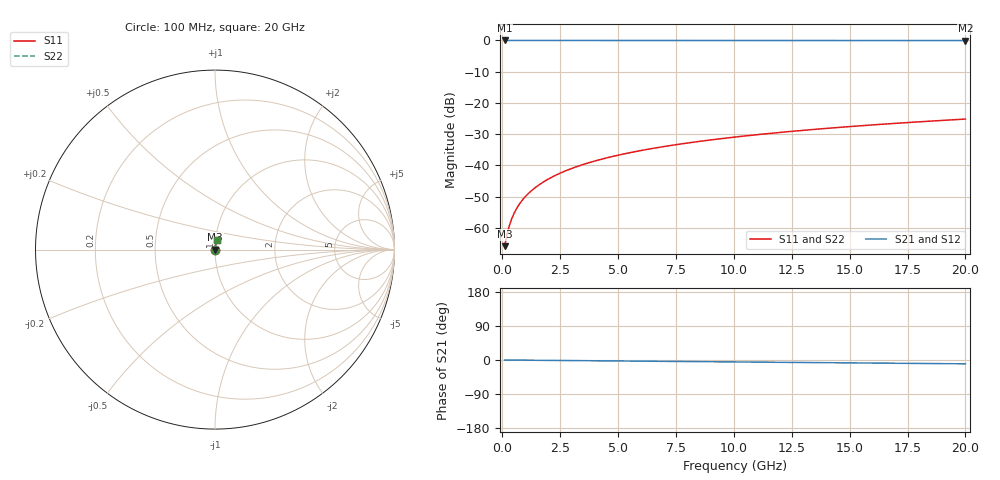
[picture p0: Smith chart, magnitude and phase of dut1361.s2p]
! Touchstone file exported from HFSS 2026.1.0
!  File:  C:/ffzhzh/LocalFiles/Ansys_Project_Files/temp_train_TSV_1361_1783196065_18472.aedt
!  Generated:  04:16:31 AM Jul  5, 2026
!  Design:  TSV
!  Project:  temp_train_TSV_1361_1783196065_18472
! Variables:
!  h_bsmrdl = 2um
!  h_ox = 20um
!  h_rdl = 5um
!  h_sub = 99.56um
!  h_tmrdl = 5um
!  h_tsv = 99.56um
!  h_via = 3um
!  l_bsmrdl = 300um
!  l_sub = 411.36um
!  l_tmrdl = 200um
!  m_sub = 200um
!  pitch = 36.45um
!  r_tsv = 5.68um
!  s_tmrdl = 10um
!  w_bsmrdl = 18um
!  w_sub = 500um
!  w_tmrdl = 12um
!  x_tsv_center1 = 206um
!  x_tsv_center2 = 524um
!  x_tsv_center3 = 736um
!  x_tsv_center4 = 1054um
!  x_tsv_center5 = 1266um
!  x_tsv_center6 = 1584um
# GHz S MA R 50.000000
! Terminal data exported
! Port[1] = TSV1_1_T1
! Port[2] = TSV1_1_T2
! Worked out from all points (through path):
!   200 points, 100 MHz to 20 GHz, reference 50 ohm
!   highest |S21| = 0.00 dB at 100 MHz (marker M1); lowest = 0.0 dB at 20 GHz (marker M2)
!   group delay of S21, straight-line fit = 1.4 ps
!   lowest |S11| = -65.9 dB at 100 MHz (marker M3), VSWR 1.00, Z = 50 + j0.033 ohm
!   |S11| at or under -10 dB: start of sweep to end of sweep
!   |S22| runs from -65.9 to -25.2 dB; largest |S21 - S12| = 4e-15
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0.1  0.000508 40.4  0.9996 -0.1  0.9996 -0.1  0.000508 40.4
! Gamma 0 0 0 0
! Port Impedance 50 0 50 0
0.2  0.0007683 58.7  0.9996 -0.1  0.9996 -0.1  0.0007683 58.7
0.3  0.001065 66.9  0.9996 -0.2  0.9996 -0.2  0.001065 66.9
0.4  0.001371 71.2  0.9996 -0.2  0.9996 -0.2  0.001371 71.2
0.5  0.001677 73.8  0.9995 -0.3  0.9995 -0.3  0.001677 73.8
0.7  0.002283 76.7  0.9995 -0.4  0.9995 -0.4  0.002283 76.7
0.8  0.002581 77.6  0.9995 -0.4  0.9995 -0.4  0.002581 77.6
1  0.003172 78.9  0.9994 -0.5  0.9994 -0.5  0.003172 78.9
1.2  0.003756 79.9  0.9994 -0.6  0.9994 -0.6  0.003756 79.9
1.4  0.004337 80.6  0.9993 -0.7  0.9993 -0.7  0.004337 80.6
1.7  0.005204 81.3  0.9993 -0.9  0.9993 -0.9  0.005204 81.3
2  0.006067 81.8  0.9992 -1.0  0.9992 -1.0  0.006067 81.8
2.7  0.008072 82.5  0.9991 -1.4  0.9991 -1.4  0.008072 82.5
3.5  0.01034 82.7  0.999 -1.8  0.999 -1.8  0.01034 82.7
4.2  0.01231 82.8  0.9988 -2.2  0.9988 -2.2  0.01231 82.8
5  0.01454 82.7  0.9987 -2.6  0.9987 -2.6  0.01454 82.7
6.8  0.01951 82.4  0.9984 -3.5  0.9984 -3.5  0.01951 82.4
8.3  0.02362 82.0  0.9982 -4.2  0.9982 -4.2  0.02362 82.0
10.1  0.02853 81.5  0.9979 -5.1  0.9979 -5.1  0.02853 81.5
13.4  0.03746 80.2  0.9974 -6.8  0.9974 -6.8  0.03746 80.2
16.7  0.04633 78.9  0.9968 -8.4  0.9968 -8.4  0.04633 78.9
20  0.05508 77.4  0.9961 -10.1  0.9961 -10.1  0.05508 77.4
